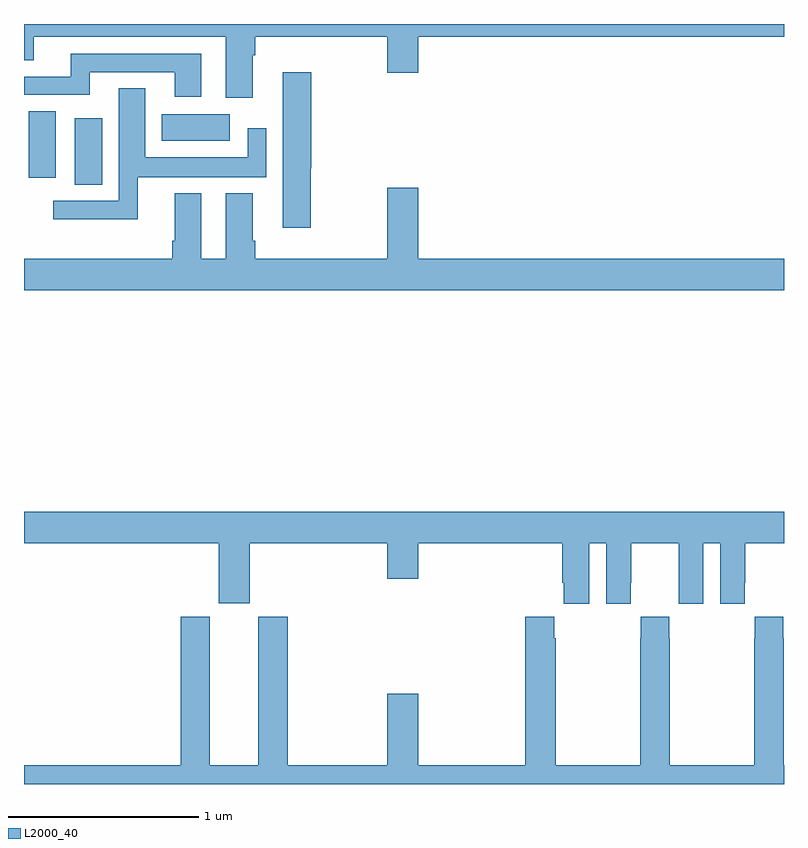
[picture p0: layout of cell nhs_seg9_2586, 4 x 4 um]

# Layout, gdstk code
import gdstk
lib = gdstk.Library(unit=1e-6, precision=1e-09)
def R(c, l, rs):  # rectangles x0, y0, x1, y1
    for r in rs: c.add(gdstk.rectangle(r[:2], r[2:], *l))
def P(c, l, *ps):  # polygons
    for p in ps: c.add(gdstk.Polygon(p, *l))
L2000_40 = (2000, 40)

nhs_seg9_2586 = lib.new_cell('nhs_seg9_2586')
R(nhs_seg9_2586, L2000_40, [(259.268,1183.654,259.411,1184.005), (259.025,1183.692,259.168,1184.042), (259.724,1183.886,260.083,1184.026)])
P(nhs_seg9_2586, L2000_40, [(260.203,1184.336),(260.216,1184.336),(260.216,1184.432),(260.912,1184.432),(260.912,1184.244),(261.076,1184.244),(261.076,1184.432),(263,1184.432),(263,1184.5),(259,1184.5),(259,1184.308),(259.051,1184.308),(259.051,1184.432),(260.063,1184.432),(260.063,1184.112),(260.203,1184.112)],
  [(259.933,1184.343),(259.247,1184.343),(259.247,1184.223),(259,1184.223),(259,1184.127),(259.345,1184.127),(259.345,1184.247),(259.793,1184.247),(259.793,1184.118),(259.933,1184.118)],
  [(260.508,1183.74),(260.513,1183.74),(260.513,1184.245),(260.363,1184.245),(260.363,1183.428),(260.508,1183.428)],
  [(259.598,1183.694),(260.274,1183.694),(260.274,1183.951),(260.178,1183.951),(260.178,1183.798),(259.639,1183.798),(259.639,1184.162),(259.499,1184.162),(259.499,1183.569),(259.154,1183.569),(259.154,1183.472),(259.598,1183.472)],
  [(263,1183.264),(261.076,1183.264),(261.076,1183.639),(260.912,1183.639),(260.912,1183.264),(260.216,1183.264),(260.216,1183.36),(260.203,1183.36),(260.203,1183.609),(260.063,1183.609),(260.063,1183.264),(259.933,1183.264),(259.933,1183.609),(259.793,1183.609),(259.793,1183.36),(259.781,1183.36),(259.781,1183.264),(259,1183.264),(259,1183.1),(263,1183.1)],
  [(261.976,1181.768),(262.064,1181.768),(262.064,1181.448),(262.194,1181.448),(262.194,1181.56),(262.195,1181.56),(262.195,1181.768),(262.445,1181.768),(262.445,1181.56),(262.446,1181.56),(262.446,1181.448),(262.576,1181.448),(262.576,1181.768),(262.664,1181.768),(262.664,1181.448),(262.794,1181.448),(262.794,1181.56),(262.795,1181.56),(262.795,1181.768),(263,1181.768),(263,1181.932),(259,1181.932),(259,1181.768),(260.024,1181.768),(260.024,1181.451),(260.188,1181.451),(260.188,1181.768),(260.912,1181.768),(260.912,1181.58),(261.076,1181.58),(261.076,1181.768),(261.833,1181.768),(261.833,1181.56),(261.842,1181.56),(261.842,1181.448),(261.976,1181.448)],
  [(260.234,1181.379),(260.234,1180.6),(259.978,1180.6),(259.978,1181.379),(259.826,1181.379),(259.826,1180.6),(259,1180.6),(259,1180.5),(263,1180.5),(263,1180.6),(262.998,1180.6),(262.998,1181.267),(262.995,1181.267),(262.995,1181.38),(262.845,1181.38),(262.845,1181.267),(262.843,1181.267),(262.843,1180.6),(262.398,1180.6),(262.398,1181.267),(262.395,1181.267),(262.395,1181.38),(262.245,1181.38),(262.245,1181.267),(262.243,1181.267),(262.243,1180.6),(261.798,1180.6),(261.798,1181.267),(261.791,1181.267),(261.791,1181.38),(261.638,1181.38),(261.638,1180.6),(261.076,1180.6),(261.076,1180.975),(260.912,1180.975),(260.912,1180.6),(260.387,1180.6),(260.387,1181.379)])

lib.write_gds('nhs_seg9_2586.gds')
